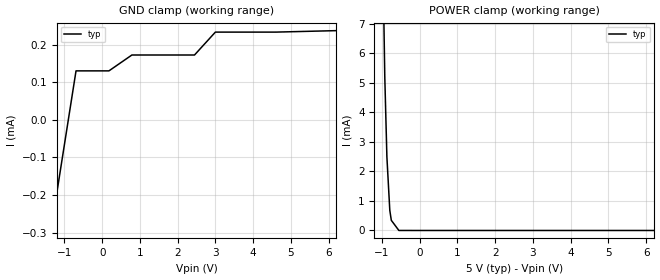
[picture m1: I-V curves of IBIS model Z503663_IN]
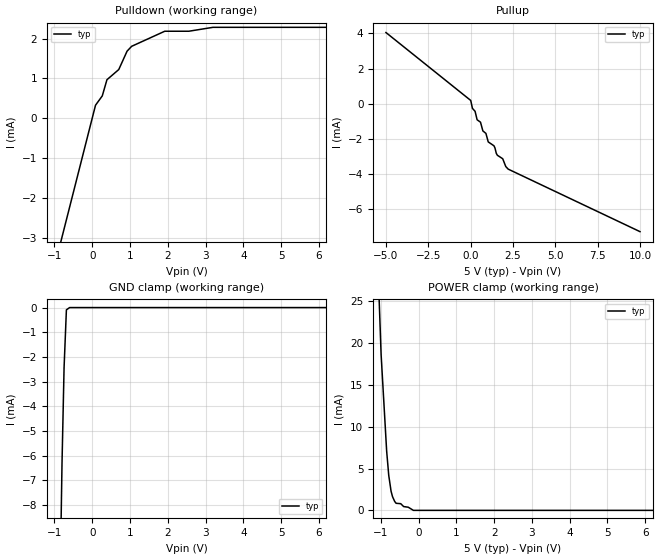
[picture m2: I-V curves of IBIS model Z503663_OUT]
| YOU ARE ONLY AUTHORIZED TO USE THIS SOFTWARE
| ACCORDING TO LICENSOR'S LICENSE RESTRICTIONS.
[IBIS Ver] 3.1
[File Name] mc14543bl.ibs
[File Rev] 2.0
[Source] Measured and created by ICX Technology
[Date] Friday 7/14/00 9:07:57 AM
[Copyright]
| (C) COPYRIGHT 1993-2000
| MENTOR GRAPHICS CORPORATION
| ICX STANDARD LIBRARY, ICX PROJECT MODELING,
| ICX CUSTOM MODELING, ICX VENDOR MODEL
| ALL RIGHTS RESERVED.
| THE FOLLOWING ARE TRADEMARKS OR SERVICE MARKS OF
| MENTOR GRAPHICS CORPORATION:ICX (R), ICX STANDARD
| LIBRARY(R), ICX PROJECT MODELING(R), ICX CUSTOM
| MODELING(R), qualityIBIS(TM), MODELVIEWER(TM),
| AND MODELEDITOR(TM)
| ALL COPIES OF SOFTWARE, INCLUDING BUT NOT LIMITED TO
| ANY MODIFICATIONS, ENHANCEMENTS OR DERIVATIVE WORKS,
| MUST CONTAIN ALL MENTOR GRAPHICS CORPORATION'S
| NOTICES AND LEGENDS, INCLUDING THOSE EMBEDDED IN
| SOFTWARE AND THOSE AFFIXED TO SOFTWARE MEDIUM
| AND CONTAINER, AS RECEIVED FROM MENTOR GRAPHICS
| CORPORATION.
|  ZAP Model Builder 2.7
[Component] MC14543BL
[Manufacturer] OnSemiconductor
[Package]
| variable   typ   min   max
R_pkg  .212ohms NA NA
L_pkg  4.758nH NA NA
C_pkg  1.944pF NA NA
[Pin] signal_name  model_name  R_pin  L_pin C_pin
1 LD Z503663_IN .224 7.258n 2.683p
2 C Z503663_IN .216 5.258n 2.19p
3 B Z503663_IN .208 3.758n 1.697p
4 D Z503663_IN .2 2.758n 1.204p
5 A Z503663_IN .2 2.758n 1.204p
6 POLARITY Z503663_IN .208 3.758n 1.697p
7 BI Z503663_IN .216 5.258n 2.19p
8 VSS POWER .224 7.258n 2.683p
9 a Z503663_OUT .224 7.258n 2.683p
10 b Z503663_OUT .216 5.258n 2.19p
11 c Z503663_OUT .208 3.758n 1.697p
12 d Z503663_OUT .2 2.758n 1.204p
13 e Z503663_OUT .2 2.758n 1.204p
14 g Z503663_OUT .208 3.758n 1.697p
15 f Z503663_OUT .216 5.258n 2.19p
16 VDD POWER .224 7.258n 2.683p
| Models and submodels in the file (2): Z503663_IN (Input), Z503663_OUT (Output)
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| (C) COPYRIGHT 1993-2000
| MENTOR GRAPHICS CORPORATION
| ICX STANDARD LIBRARY, ICX PROJECT MODELING,
| ICX CUSTOM MODELING, ICX VENDOR MODEL
| ALL RIGHTS RESERVED.
| THE FOLLOWING ARE TRADEMARKS OR SERVICE MARKS OF
| MENTOR GRAPHICS CORPORATION:ICX (R), ICX STANDARD
| LIBRARY(R), ICX PROJECT MODELING(R), ICX CUSTOM
| MODELING(R), qualityIBIS(TM), MODELVIEWER(TM),
| AND MODELEDITOR(TM)
| ALL COPIES OF SOFTWARE, INCLUDING BUT NOT LIMITED TO
| ANY MODIFICATIONS, ENHANCEMENTS OR DERIVATIVE WORKS,
| MUST CONTAIN ALL MENTOR GRAPHICS CORPORATION'S
| NOTICES AND LEGENDS, INCLUDING THOSE EMBEDDED IN
| SOFTWARE AND THOSE AFFIXED TO SOFTWARE MEDIUM
| AND CONTAINER, AS RECEIVED FROM MENTOR GRAPHICS
| CORPORATION.
| Model Application Version 1.89 2/18/99.
[Model] Z503663_IN
Model_type Input
Vinl = 1.500V
Vinh = 3.500V
C_comp 4.000pF NA NA
| variable typ   min   max
[Voltage Range] 5.000V NA NA
[GND Clamp Reference] 0.000V NA NA
[POWER Clamp Reference] 5.000V NA NA
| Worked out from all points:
|   POWER clamp passes 1 mA (typ) near -0.81 V on its own axis
[GND Clamp]
-5V       -2.618mA   NA         NA
-693.5mV  130.3uA    NA         NA
178.5mV   130.3uA    NA         NA
786.6mV   172.5uA    NA         NA
2.445V    172.5uA    NA         NA
2.998V    233.4uA    NA         NA
4.599V    233.4uA    NA         NA
10V       246.6uA    NA         NA
[POWER Clamp]
-5V       797.2mA    NA         NA
-1.176V   35.1mA     NA         NA
-1.055V   17.3mA     NA         NA
-1.001V   11.23mA    NA         NA
-925mV    5.201mA    NA         NA
-869mV    2.486mA    NA         NA
-792mV    678.3uA    NA         NA
-752mV    343.8uA    NA         NA
-552mV    666.6nA    NA         NA
-352mV    666.6nA    NA         NA
-176mV    0A         NA         NA
10V       0A         NA         NA
| (C) COPYRIGHT 1993-2000
| MENTOR GRAPHICS CORPORATION
| ICX STANDARD LIBRARY, ICX PROJECT MODELING,
| ICX CUSTOM MODELING, ICX VENDOR MODEL
| ALL RIGHTS RESERVED.
| THE FOLLOWING ARE TRADEMARKS OR SERVICE MARKS OF
| MENTOR GRAPHICS CORPORATION:ICX (R), ICX STANDARD
| LIBRARY(R), ICX PROJECT MODELING(R), ICX CUSTOM
| MODELING(R), qualityIBIS(TM), MODELVIEWER(TM),
| AND MODELEDITOR(TM)
| ALL COPIES OF SOFTWARE, INCLUDING BUT NOT LIMITED TO
| ANY MODIFICATIONS, ENHANCEMENTS OR DERIVATIVE WORKS,
| MUST CONTAIN ALL MENTOR GRAPHICS CORPORATION'S
| NOTICES AND LEGENDS, INCLUDING THOSE EMBEDDED IN
| SOFTWARE AND THOSE AFFIXED TO SOFTWARE MEDIUM
| AND CONTAINER, AS RECEIVED FROM MENTOR GRAPHICS
| CORPORATION.
| Model Application Version 1.89 2/18/99.
[Model] Z503663_OUT
Model_type Output
Vref=0.000V
Rref=500.0Mohms
Cref=50.00pF
Vmeas=2.500V
C_comp 8.000pF NA NA
| variable typ   min   max
[Voltage Range] 5.000V NA NA
[POWER Clamp Reference] 5.000V NA NA
[Pullup Reference] 5.000V NA NA
[Pulldown Reference] 0.000V NA NA
[GND Clamp Reference] 0.000V NA NA
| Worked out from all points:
|   slope of the pulldown table from 0 to 0.75 V, typ, clamps not added: 570 ohm
|   slope of the pullup table from 0 to 0.75 V, typ, clamps not added: 426 ohm
|   GND clamp passes 1 mA (typ) near -0.71 V on its own axis
|   POWER clamp passes 1 mA (typ) near -0.62 V on its own axis
[GND Clamp]
-5V       -411.5mA   NA         NA
-799.9mV  -6.318mA   NA         NA
-745.4mV  -2.44mA    NA         NA
-683.7mV  -91.81uA   NA         NA
-598.2mV  0A         NA         NA
10V       0A         NA         NA
[Pulldown]
-5V       -18.6mA    NA         NA
87.09mV   330uA      NA         NA
266.6mV   564.5uA    NA         NA
389.9mV   969uA      NA         NA
703.2mV   1.224mA    NA         NA
922.9mV   1.684mA    NA         NA
1.045V    1.806mA    NA         NA
1.921V    2.183mA    NA         NA
2.559V    2.183mA    NA         NA
3.198V    2.281mA    NA         NA
10V       2.281mA    NA         NA
[Pullup]
-5V       4.053mA    NA         NA
5mV       189.6uA    NA         NA
107mV     -260.9uA   NA         NA
263mV     -429.7uA   NA         NA
383mV     -910.8uA   NA         NA
583mV     -1.048mA   NA         NA
1.04V     -2.17mA    NA         NA
1.379V    -2.392mA   NA         NA
1.578V    -2.929mA   NA         NA
1.895V    -3.128mA   NA         NA
2.217V    -3.718mA   NA         NA
10V       -7.275mA   NA         NA
[POWER Clamp]
-5V       527.9mA    NA         NA
-992mV    18.65mA    NA         NA
-845mV    7.081mA    NA         NA
-790mV    4.193mA    NA         NA
-728mV    2.285mA    NA         NA
-689mV    1.631mA    NA         NA
-595mV    846.3uA    NA         NA
-473mV    799.5uA    NA         NA
-395mV    454.1uA    NA         NA
-273mV    374.9uA    NA         NA
-136.5mV  0A         NA         NA
10V       0A         NA         NA
[Ramp]
| variable typ min max
dV/dt_r 2.483/25.32n NA NA
dV/dt_f 2.483/18.09n NA NA
R_load = 2.500kOhms
